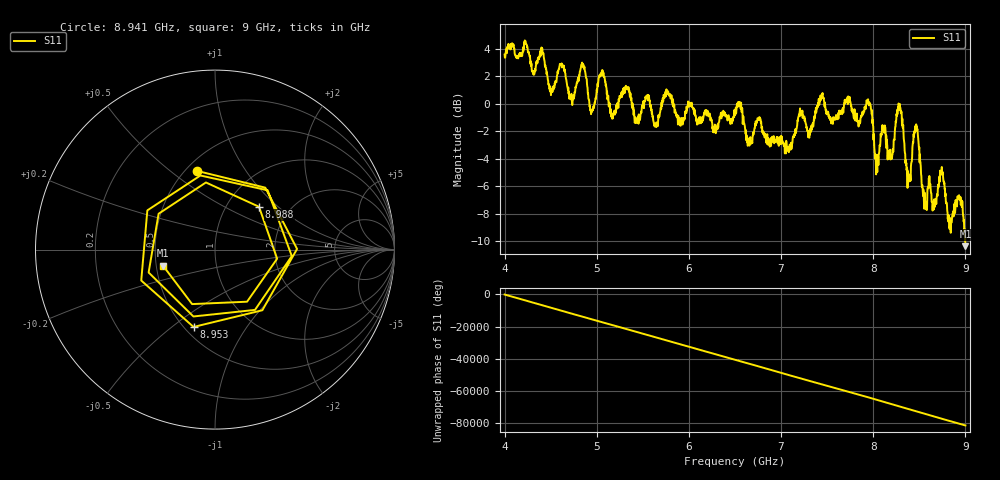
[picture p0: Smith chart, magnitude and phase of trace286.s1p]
! Created with skrf 1.8.0 (http://scikit-rf.org).
# Hz S RI R 50.0
!freq ReS11 ImS11
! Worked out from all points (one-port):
!   1601 points, 4 GHz to 9 GHz, reference 50 ohm
!   lowest |S11| = -10.4 dB at 9 GHz (marker M1), VSWR 1.87, Z = 27.2 - j5.37 ohm
!   |S11| at or under -10 dB: 8.998462 GHz to end of sweep
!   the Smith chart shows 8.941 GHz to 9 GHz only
!   S11 on the Smith chart (normalised r, x): 8.941 GHz: 0.57, +0.63; 8.953 GHz: 0.56, -0.60; 8.988 GHz: 1.41, +0.76; 9 GHz: 0.54, -0.11
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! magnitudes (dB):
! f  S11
! 4 GHz  3.6
! 4.406 GHz  4.0
! 4.509 GHz  0.9
! 4.625 GHz  2.8
! 4.725 GHz  0.7
! 4.847 GHz  2.9
! 4.944 GHz  -0.6
! 5.047 GHz  2.0
! 5.162 GHz  -0.8
! 5.25 GHz  0.5
! 5.875 GHz  -0.9
! 6.5 GHz  -0.7
! 7.125 GHz  -2.6
! 7.75 GHz  0.2
! 7.953 GHz  -0.1
! 8.041 GHz  -4.5
! 8.106 GHz  -1.6
! 8.194 GHz  -3.9
! 8.284 GHz  -0.5
! 8.375 GHz  -4.9
! 8.462 GHz  -1.8
! 8.559 GHz  -6.5
! 8.741 GHz  -4.9
! 8.828 GHz  -9.1
! 8.941 GHz  -7.0
! 8.953 GHz  -7.0
! 8.988 GHz  -9.3
! 9 GHz  -10.4
